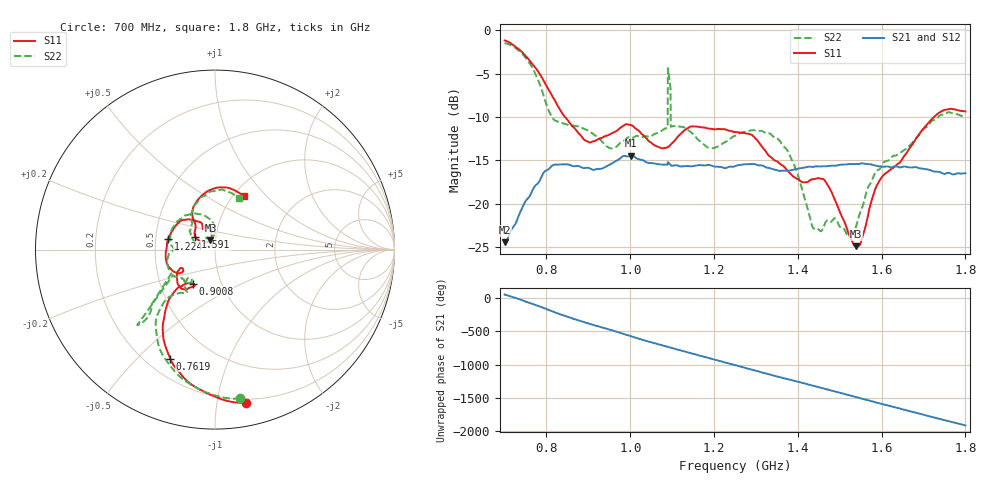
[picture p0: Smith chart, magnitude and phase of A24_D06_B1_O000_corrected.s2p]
! Created with skrf 1.9.0 (http://scikit-rf.org).
# Hz S RI R 50.0
!freq ReS11 ImS11 ReS21 ImS21 ReS12 ImS12 ReS22 ImS22
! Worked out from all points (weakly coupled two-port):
!   1601 points, 700 MHz to 1.8 GHz, reference 50 ohm
!   highest |S21| = -14.46 dB at 1.002 GHz (marker M1); lowest = -24.5 dB at 700 MHz (marker M2)
!   lowest |S11| = -24.9 dB at 1.538 GHz (marker M3), VSWR 1.12, Z = 47.3 + j4.82 ohm
!   |S11| at or under -10 dB: 844 MHz to 1.725 GHz (881.3 MHz wide, 68.6 % of centre)
!   |S22| runs from -23.8 to -1.5 dB; largest |S21 - S12| = 0.0034
!   S11 on the Smith chart (normalised r, x): 700 MHz: 0.17, -1.21; 761.9 MHz: 0.29, -0.63; 900.8 MHz: 0.73, -0.29; 1.224 GHz: 0.58, +0.07; 1.591 GHz: 0.79, +0.11; 1.8 GHz: 1.12, +0.76
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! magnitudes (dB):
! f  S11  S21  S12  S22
! 700 MHz  -1.2  -24.5  -24.2  -1.5
! 761.9 MHz  -3.7  -18.9  -18.9  -4.0
! 815.5 MHz  -7.7  -15.6  -15.6  -10.2
! 883.6 MHz  -12.3  -15.8  -15.7  -11.2
! 900.8 MHz  -12.9  -15.9  -15.9  -11.6
! 953.7 MHz  -12.0  -15.4  -15.4  -13.6
! 1.002 GHz  -11.0  -14.5  -14.6  -12.4
! 1.067 GHz  -13.5  -15.5  -15.4  -11.8
! 1.084 GHz  -13.6  -15.5  -15.5  -11.3
! 1.095 GHz  -13.2  -15.5  -15.5  -6.5
! 1.102 GHz  -12.9  -15.6  -15.5  -11.1
! 1.224 GHz  -11.4  -15.9  -15.9  -13.0
! 1.25 GHz  -11.7  -15.7  -15.6  -12.2
! 1.357 GHz  -15.4  -16.2  -16.1  -12.8
! 1.394 GHz  -17.0  -16.0  -16.0  -15.9
! 1.434 GHz  -17.2  -15.8  -15.7  -22.5
! 1.469 GHz  -17.6  -15.7  -15.7  -22.0
! 1.538 GHz  -24.9  -15.4  -15.4  -22.8
! 1.591 GHz  -17.7  -15.7  -15.7  -16.1
! 1.617 GHz  -16.2  -15.7  -15.7  -15.0
! 1.733 GHz  -9.6  -16.3  -16.3  -10.1
! 1.8 GHz  -9.4  -16.5  -16.5  -10.0
